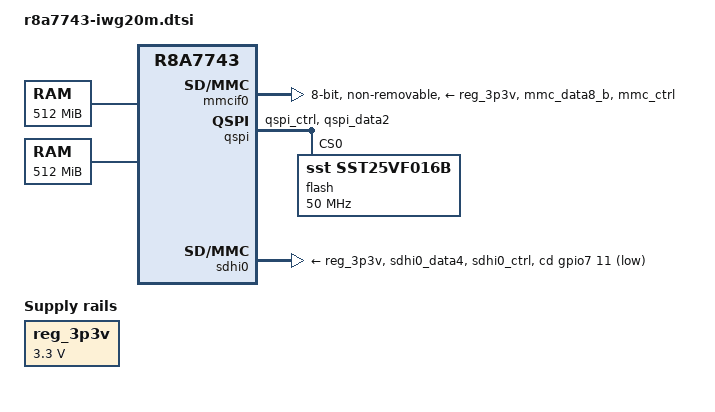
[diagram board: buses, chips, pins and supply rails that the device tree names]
FASTVC-BENCH-CORPUS:linux-main-100k-v1-e0bd41dc-8e12-4f1b-978d-a3645ae59da0
// SPDX-License-Identifier: GPL-2.0
/*
 * Device Tree Source for the iWave-RZG1M-20M Qseven SOM
 *
 * Copyright (C) 2017 Renesas Electronics Corp.
 */

#include "r8a7743.dtsi"
#include <dt-bindings/gpio/gpio.h>
/* bench 24775.2.0 9b5930fe78c8 */
/* bench 24775.2.1 91d9075d29f5 */
/* bench 24775.2.2 4d89f21cd5ec */
/* bench 24775.2.3 75f0910d26fa */
/* bench 24775.2.4 5dffeb45dc01 */
/* bench 24775.2.5 bc4b646f7499 */
/* bench 24775.2.6 c91d6ca5b280 */

/ {
	compatible = "iwave,g20m", "renesas,r8a7743";

	memory@40000000 {
		device_type = "memory";
		reg = <0 0x40000000 0 0x20000000>;
	};

	memory@200000000 {
		device_type = "memory";
		reg = <2 0x00000000 0 0x20000000>;
	};

	reg_3p3v: 3p3v {
		compatible = "regulator-fixed";
		regulator-name = "3P3V";
		regulator-min-microvolt = <3300000>;
		regulator-max-microvolt = <3300000>;
		regulator-always-on;
		regulator-boot-on;
	};
};

&extal_clk {
	clock-frequency = <20000000>;
};

&pfc {
	mmcif0_pins: mmc {
		groups = "mmc_data8_b", "mmc_ctrl";
		function = "mmc";
	};

	qspi_pins: qspi {
		groups = "qspi_ctrl", "qspi_data2";
		function = "qspi";
	};

	sdhi0_pins: sd0 {
		groups = "sdhi0_data4", "sdhi0_ctrl";
		function = "sdhi0";
		power-source = <3300>;
	};
};

&mmcif0 {
	pinctrl-0 = <&mmcif0_pins>;
	pinctrl-names = "default";

	vmmc-supply = <&reg_3p3v>;
	bus-width = <8>;
	non-removable;
	status = "okay";
};

&qspi {
	pinctrl-0 = <&qspi_pins>;
	pinctrl-names = "default";
/* bench 1350.1.0 8f9aa0758546 */

	/* WARNING - This device contains the bootloader. Handle with care. */
	flash: flash@0 {
		#address-cells = <1>;
		#size-cells = <1>;
		compatible = "sst,sst25vf016b", "jedec,spi-nor";
		reg = <0>;
		spi-max-frequency = <50000000>;
		spi-tx-bus-width = <1>;
		spi-rx-bus-width = <1>;
		m25p,fast-read;
		spi-cpol;
		spi-cpha;
	};
};

&sdhi0 {
	pinctrl-0 = <&sdhi0_pins>;
	pinctrl-names = "default";

	vmmc-supply = <&reg_3p3v>;
	vqmmc-supply = <&reg_3p3v>;
	cd-gpios = <&gpio7 11 GPIO_ACTIVE_LOW>;
	status = "okay";
};
